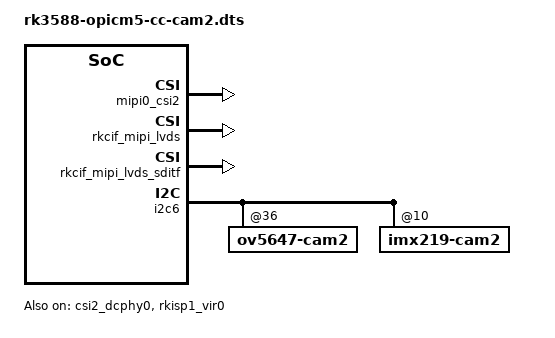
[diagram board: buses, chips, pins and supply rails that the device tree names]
// SPDX-License-Identifier: (GPL-2.0+ OR MIT)
/*
 * Enable camera path 2 on Orange Pi CM5-CC.
 *
 * Path: CSI2 C-PHY0 → MIPI0-CSI2 → RKCIF → RKVISP1
 *       I2C6 for sensor control (shared with charger/PD on same bus)
 *
 * Dependencies: rk3588s-orangepi-cm5-cc-camera2.dtsi (included in main DTS)
 * Compatible sensors: OV5647 (0x36), IMX219 (0x10) on I2C6
 */

/dts-v1/;
/plugin/;

/ {
	fragment@0 {
		target = <&csi2_dcphy0>;
		__overlay__ {
			status = "okay";
		};
	};

	fragment@1 {
		target = <&mipi0_csi2>;
		__overlay__ {
			status = "okay";
		};
	};

	fragment@2 {
		target = <&rkcif_mipi_lvds>;
		__overlay__ {
			status = "okay";
		};
	};

	fragment@3 {
		target = <&rkcif_mipi_lvds_sditf>;
		__overlay__ {
			status = "okay";
		};
	};

	fragment@4 {
		target = <&rkisp1_vir0>;
		__overlay__ {
			status = "okay";
		};
	};

	fragment@5 {
		target = <&i2c6>;
		__overlay__ {
			status = "okay";

			ov5647-cam2@36 {
				status = "okay";
			};

			imx219-cam2@10 {
				status = "okay";
			};
		};
	};
};
